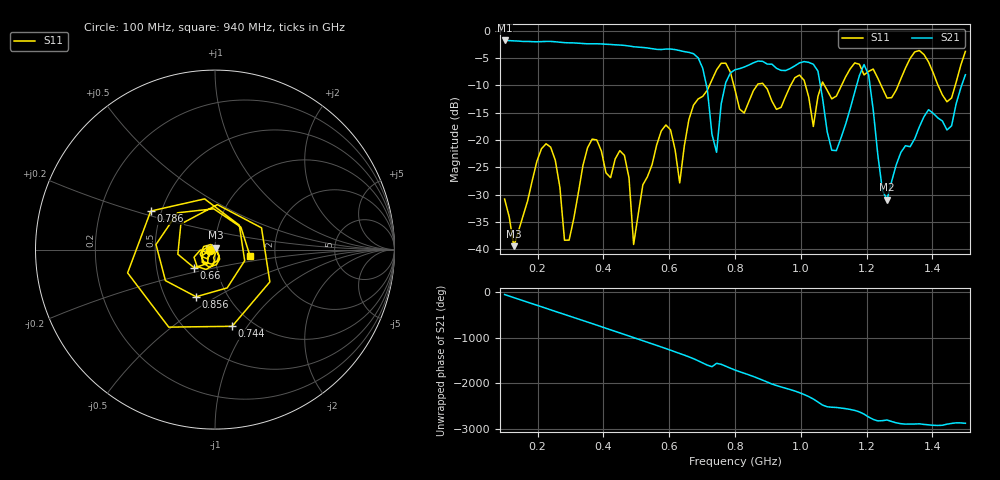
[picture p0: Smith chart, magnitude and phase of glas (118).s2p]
! NanoVNA-App
! Date: 2025-09-25 17:39:41
! Start: 100MHz Stop: 1,5GHz Points: 101
! S-Parameter data: F S11 S21 S12 S22
# Hz S RI R 50
!  Frequency  S11_Real  S11_Imag  S21_Real  S21_Imag  S12_Real  S12_Imag  S22_Real  S22_Imag
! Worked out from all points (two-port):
!   101 points, 100 MHz to 1.5 GHz, reference 50 ohm
!   highest |S21| = -1.80 dB at 100 MHz (marker M1); lowest = -30.9 dB at 1.262 GHz (marker M2)
!   |S21| within 3 dB of the highest: start of sweep to 684.7 MHz
!   lowest |S11| = -39.4 dB at 128 MHz (marker M3), VSWR 1.02, Z = 50.3 + j1.02 ohm
!   |S11| at or under -10 dB: start of sweep to 722.5 MHz; 796.5 MHz to 867 MHz (70.53 MHz wide, 8.48 % of centre); 888.9 MHz to 969.1 MHz (80.16 MHz wide, 8.63 % of centre) (the widest 3 of 7)
!   S12 and S22 are empty: the file has one direction only
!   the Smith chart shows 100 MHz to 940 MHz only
!   S11 on the Smith chart (normalised r, x): 100 MHz: 0.94, -0.01; 660 MHz: 0.78, -0.16; 744 MHz: 0.81, -0.85; 786 MHz: 0.44, +0.23; 856 MHz: 0.71, -0.41; 940 MHz: 1.48, -0.11
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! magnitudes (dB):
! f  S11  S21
! 100 MHz  -30.8  -1.8
! 128 MHz  -39.4  -1.9
! 212 MHz  -21.6  -2.0
! 254 MHz  -23.7  -2.0
! 282 MHz  -38.3  -2.2
! 338 MHz  -24.6  -2.4
! 464 MHz  -22.8  -2.7
! 492 MHz  -39.1  -2.9
! 576 MHz  -18.3  -3.5
! 632 MHz  -27.8  -3.6
! 660 MHz  -16.2  -4.0
! 744 MHz  -7.2  -22.2
! 786 MHz  -7.6  -7.7
! 800 MHz  -10.8  -7.1
! 856 MHz  -11.0  -5.9
! 940 MHz  -14.0  -7.3
! 1.038 GHz  -17.5  -6.1
! 1.108 GHz  -12.0  -21.9
! 1.192 GHz  -8.1  -6.2
! 1.262 GHz  -12.3  -30.9
! 1.276 GHz  -12.2  -27.5
! 1.5 GHz  -3.8  -8.1
